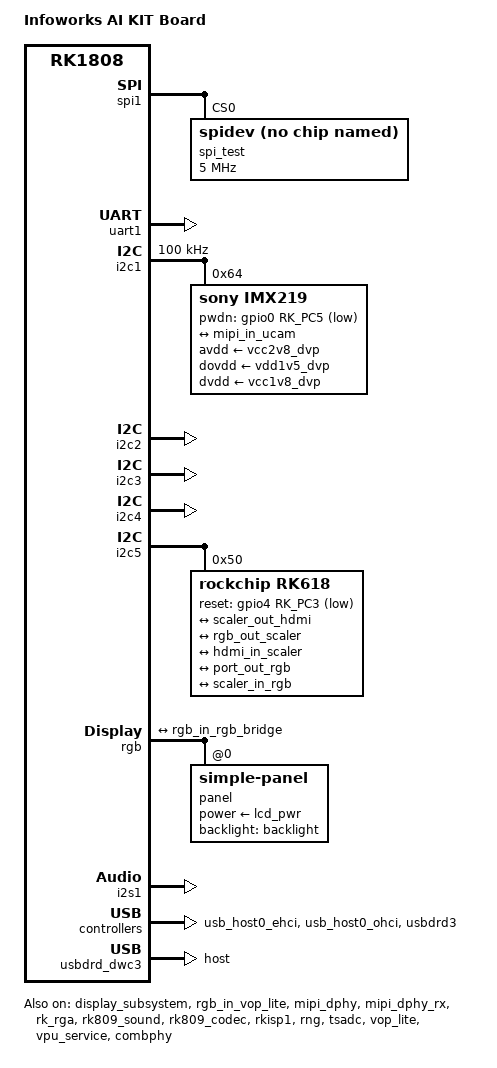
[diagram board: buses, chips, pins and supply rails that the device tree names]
// SPDX-License-Identifier: (GPL-2.0+ OR MIT)
/*
 * Copyright (c) 2018 Fuzhou Rockchip Electronics Co., Ltd
 */

/dts-v1/;
#include <dt-bindings/display/drm_mipi_dsi.h>
#include <dt-bindings/clock/rk618-cru.h>
#include "rk1808-evb.dtsi"

/ {
	model = "Infoworks AI KIT Board";
	compatible = "rockchip,rk1808-evb-v10", "rockchip,rk1808";

	chosen {
		bootargs = "earlycon=uart8250,mmio32,0xff430000 console=ttyFIQ0 root=PARTUUID=614e0000-0000 rootfstype=ext4 rootwait swiotlb=1 kpti=0 snd_aloop.index=7";
	};

	fiq-debugger {
		status = "okay";
		rockchip,serial-id = <0>;
		rockchip,irq-mode-enable = <1>;
		pinctrl-names = "default";
		pinctrl-0 = <&uart0_xfer>;
	};

	vad-sound {
		status = "enable";
		compatible = "rockchip,multicodecs-card";
		rockchip,card-name = "rockchip,rk1808-vad";
		rockchip,cpu = <&pdm>;
		rockchip,codec = <&vad>;
	};
};
/*
+-----+--------+------+---GPIO---+------+--------+-----+
|     |  Name  | Mode | Physical | Mode |  Name  |     |
+-----+--------+------+----++----+------+--------+-----+
|     |   3.3V |      |  1 || 2  |      | 5.0V   |     |
|     |  SCL.3 |      |  3 || 4  |      | 5.0V   |     |
|     |  SDA.3 |      |  5 || 6  |      | GND    |     |
|     | IO2.B0 |      |  7 || 8  |      | TxD.1  |     |
|     |    GND |      |  9 || 10 |      | RxD.1  |     |
|     | IO2.B1 |      | 11 || 12 |      | IO4.A6 |     |
|     | IO2.B4 |      | 13 || 14 |      | GND    |     |
|     | IO2.B5 |      | 15 || 16 |      | IO4.A7 |     |
|     |   3.3V |      | 17 || 18 |      | IO4.B2 |     |
|     |   MOSI |      | 19 || 20 |      | GND    |     |
|     |   MISO |      | 21 || 22 |      | IO4.B3 |     |
|     |   SCLK |      | 23 || 24 |      | CE0    |     |
|     |    GND |      | 25 || 26 |      | CE1    |     |
|     |  SDA.2 |      | 27 || 28 |      | SCL.2  |     |
|     | IO2.B6 |      | 29 || 30 |      | GND    |     |
|     | IO2.B7 |      | 31 || 32 |      | IO1.B6 |     |
|     | IO1.B7 |      | 33 || 34 |      | GND    |     |
|     | IO2.B4 |      | 35 || 36 |      | ADC.1  |     |
|     |  ADC.0 |      | 37 || 38 |      | IO2.C0 |     |
|     |    GND |      | 39 || 40 |      | IO2.C1 |     |
+-----+--------+------+----++----+------+--------+-----+
|     |  Name  | Mode | Physical | Mode |  Name  |     |
+-----+--------+------+---GPIO---+------+--------+-----+

*/
// if using SPI1 M0, must disable UART4

&spi1 {
	status = "okay";
	dma-names = "tx", "rx";

	spi_test@00 {
		compatible = "rockchip,spidev";
		reg = <0>;
		spi-max-frequency = <5000000>;
	};
};

&uart1 {
	status = "okay";
	pinctrl-names = "default";
	pinctrl-0 = <&uart1m0_xfer>; /* GPIO4 PB0,PB1 */
};

&uart4 {
	status = "disabled";
};

&adc_key {
	status = "disabled";
};

&display_subsystem {
	status = "okay";
};

&i2c1 {
	status = "okay";

	clock-frequency = <100000>;
	imx219: imx219@64 {
		status = "okay";
		compatible = "sony,imx219";
		reg = <0x64>;
		clocks = <&cru SCLK_CIF_OUT>;
		clock-names = "xvclk";
		avdd-supply = <&vcc2v8_dvp>;
		dovdd-supply = <&vdd1v5_dvp>;
		dvdd-supply = <&vcc1v8_dvp>;
		pwdn-gpios = <&gpio0 RK_PC5 GPIO_ACTIVE_LOW>;
		pinctrl-names = "default";
		pinctrl-0 = <&cif_clkout_m0>;
		rockchip,camera-module-index = <0>;
		rockchip,camera-module-facing = "back";
		rockchip,camera-module-name = "TongJu";
		rockchip,camera-module-lens-name = "CHT842-MD";
		port {
			ucam_out: endpoint {
				remote-endpoint = <&mipi_in_ucam>;
				data-lanes = <1 2>;
			};
		};
	};
};

&i2c2 {
	status = "okay";
	pinctrl-names = "default";
	pinctrl-0 = <&i2c2m1_xfer>;
};

&i2c3 {
	status = "okay";
};

&i2c4 {
	status = "okay";
};

&i2c5 {
	status = "okay";

	rk618@50 {
      compatible = "rockchip,rk618";
      reg = <0x50>;
      pinctrl-names = "default";
      pinctrl-0 = <&i2s1_2ch_mclk>;
      clocks = <&cru SCLK_I2S1_2CH_OUT>;
      clock-names = "clkin";
      assigned-clocks = <&cru SCLK_I2S1_2CH_OUT>;
      assigned-clock-rates = <12000000>;
      reset-gpios = <&gpio4 RK_PC3 GPIO_ACTIVE_LOW>;
      status = "okay";

      clock: cru {
         compatible = "rockchip,rk618-cru";
         clocks = <&cru SCLK_I2S1_2CH_OUT>, <&cru DCLK_VOPLITE>;
         clock-names = "clkin", "lcdc0_dclkp";
         assigned-clocks = 
						<&clock SCALER_PLLIN_CLK>,
                 <&clock VIF_PLLIN_CLK>,
					  <&clock SCALER_CLK>,
                 <&clock VIF0_PRE_CLK>,
                 <&clock CODEC_CLK>,
                 <&clock DITHER_CLK>;
         assigned-clock-parents = 
						<&cru SCLK_I2S1_2CH_OUT>,
						<&clock LCDC0_CLK>,
                   <&clock SCALER_PLL_CLK>,
                   <&clock VIF_PLL_CLK>,
                   <&cru SCLK_I2S1_2CH_OUT>,
						 <&clock VIF0_CLK>;
         #clock-cells = <1>;
         status = "okay";
      };  

      hdmi {
         compatible = "rockchip,rk618-hdmi";
         clocks = <&clock HDMI_CLK>;
         clock-names = "hdmi";
         assigned-clocks = <&clock HDMI_CLK>;
         assigned-clock-parents = <&clock VIF0_CLK>;
         interrupt-parent = <&gpio2>;
         interrupts = <12 IRQ_TYPE_LEVEL_HIGH>;
         status = "okay";

         ports {
            #address-cells = <1>;
            #size-cells = <0>;

            port@0 {
               reg = <0>;
               hdmi_in_scaler: endpoint {
                  remote-endpoint = <&scaler_out_hdmi>;
               };  
            };  
         };  
      };

		scaler {
			compatible = "rockchip,rk618-scaler";
			clocks = <&clock SCALER_CLK>, <&clock VIF0_CLK>,
						<&clock DITHER_CLK>;
			clock-names = "scaler", "vif", "dither";
			status = "okay";

			ports {
				#address-cells = <1>;
				#size-cells = <0>;

				port@0 {
					reg = <0>;

					scaler_in_rgb: endpoint{
						remote-endpoint = <&rgb_out_scaler>;
					};
				};

				port@1 {
					reg = <1>;

					scaler_out_hdmi: endpoint {
						remote-endpoint = <&hdmi_in_scaler>;
					};
				};
			};
		};

		rgb {
			compatible = "rockchip,rk618-rgb";
			clocks = <&clock RGB_CLK>;
			clock-names = "rgb";
			status = "okay";
			bus-format = <MEDIA_BUS_FMT_RGB666_1X18>;

			ports {
				#address-cells = <1>;
				#size-cells = <0>;

				port@0{
					reg = <0>;

					rgb_in_rgb_bridge: endpoint{
						remote-endpoint = <&port_out_rgb>;
					};
				};

				port@1{
					reg = <1>;

					rgb_out_scaler: endpoint{
						remote-endpoint = <&scaler_in_rgb>;
					};
				};
			};
		};

   };  
};

&rgb {
   status = "okay";
	pinctrl-names = "default";
	pinctrl-0 = <&lcdc_rgb_dclk_pin &lcdc_rgb_den_pin 
	&lcdc_rgb_m0_hsync_pin &lcdc_rgb_m0_vsync_pin 
	&lcdc_rgb666_data_pins>;
	
	bus-format = <MEDIA_BUS_FMT_RGB666_1X18>;

			
			panel: panel {
				status = "okay";
				compatible = "simple-panel";
				backlight = <&backlight>;
				power-supply = <&lcd_pwr>;
				width-mm = <120>;
				height-mm = <80>;
		
				reg = <0>;
				bus-format = <MEDIA_BUS_FMT_RGB666_1X18>;
		
				display-timings {
					native-mode = <&timing0>;
					timing0: timing0{
						clock-frequency = <74250000>;
						hactive = <1280>;
						vactive = <720>;
						hback-porch = <30>;
						hfront-porch = <30>;
						vback-porch = <10>;
						vfront-porch = <15>;
						hsync-len = <20>;
						vsync-len = <5>;
						hsync-active = <0>;
						vsync-active = <0>;
						de-active = <0>;
						pixelclk-active = <0>;
					};
				};
			};


   ports {
      port@1 {
         reg = <1>;

         port_out_rgb: endpoint {
           remote-endpoint = <&rgb_in_rgb_bridge>;
         };
      };
   };
};

&rgb_in_vop_lite {
	status = "okay";
};

&route_rgb {
   connect = <&vop_lite_out_rgb>;
   status = "disabled";
};


&pdm {
	status = "disabled";
	#sound-dai-cells = <0>;
};

&i2s0 {
	status = "disabled";
};

&i2s1 {
	status = "okay";
	#sound-dai-cells = <0>;
};

&isp_mmu {
	status = "okay";
};

&mipi_dphy {
	status = "okay";
};

&mipi_dphy_rx {
	status = "okay";
	ports {
		#address-cells = <1>;
		#size-cells = <0>;

		port@0 {
			status = "okay";
			reg = <0>;
			#address-cells = <1>;
			#size-cells = <0>;

			mipi_in_ucam: endpoint@1 {
				reg = <1>;
				remote-endpoint = <&ucam_out>;
				data-lanes = <1 2>;
			};
		};

		port@1 {
			reg = <1>;
			#address-cells = <1>;
			#size-cells = <0>;

			dphy_rx0_out: endpoint@0 {
				reg = <0>;
				remote-endpoint = <&isp0_mipi_in>;
			};
		};
	};
};


&rk_rga {
	status =  "okay";
};

&rk809_sound {
	status = "okay";
};

&rk809_codec {
	status = "okay";
};


&rkisp1 {
	status = "okay";

	port {
		#address-cells = <1>;
		#size-cells = <0>;

		isp0_mipi_in: endpoint@0 {
			reg = <0>;
			remote-endpoint = <&dphy_rx0_out>;
		};
	};
};

&rng {
	status = "okay";
};

&tsadc {
	rockchip,hw-tshut-mode = <1>; /* tshut mode 0:CRU 1:GPIO */
	rockchip,hw-tshut-polarity = <0>; /* tshut polarity 0:LOW 1:HIGH */
	pinctrl-names = "gpio", "otpout";
	pinctrl-0 = <&tsadc_otp_gpio>;
	pinctrl-1 = <&tsadc_otp_out>;
	status = "okay";
};

&vad {
	status = "enable";
	rockchip,audio-src = <&pdm>;
	rockchip,buffer-time-ms = <200>;
	rockchip,det-channel = <0>;
	rockchip,mode = <1>;
	#sound-dai-cells = <0>;
};

&vop_lite {
	status = "okay";
	rockchip,grf = <&grf>;
};

&vop_lite_out_dsi {
	status = "disabled";
};

&vopl_mmu {
	status = "okay";
};

&vpu_mmu {
	status = "okay";
};

&vpu_service {
	status = "okay";
};

&wireless_bluetooth{
	status = "disabled";
};

&wireless_wlan{
	status = "disabled";
};

//////////////// USB 3.0 Setting

&combphy {
   status = "okay";
};

&usb_host0_ehci {
        status = "okay";
};

&usb_host0_ohci {
        status = "okay";
};

&pcie0 {
   status = "disabled";
};

&usbdrd3 {
   status = "okay";
};

&usbdrd_dwc3{
   status = "okay";
   dr_mode = "host";
};
